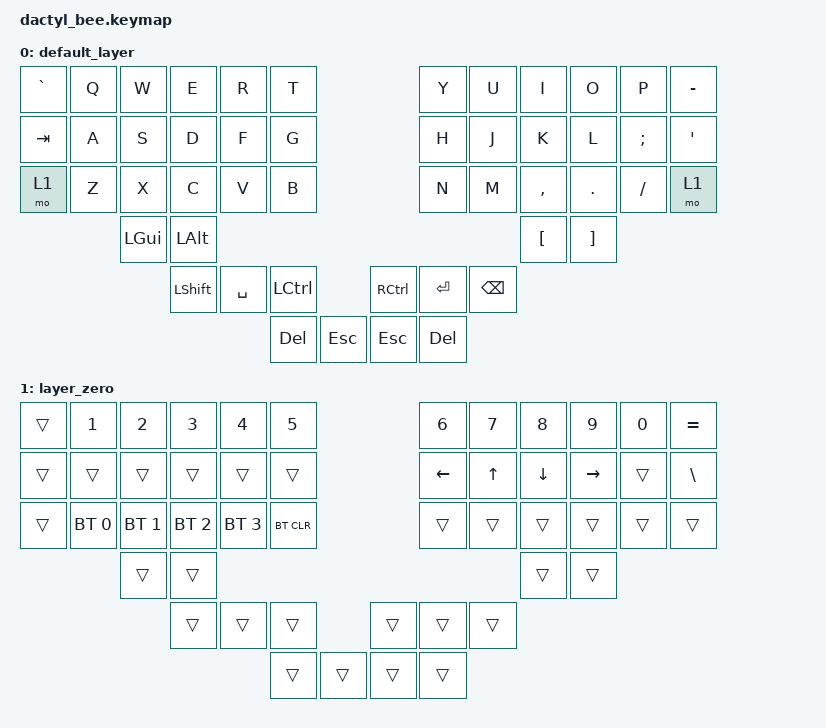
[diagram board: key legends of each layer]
#include <behaviors.dtsi>
#include <dt-bindings/zmk/keys.h>
#include <dt-bindings/zmk/bt.h>
#include <dt-bindings/zmk/ext_power.h>

/ {
        keymap {
            compatible = "zmk,keymap";

            default_layer {
// | ~|` |  Q  |  W  |  E  |  R  |  T  |                                |  Y  |  U  |  I  |  O  |  P  | -|_ |
// | TAB |  A  |  S  |  D  |  F  |  G  |                                |  H  |  J  |  K  |  L  | ;|: | '|" |
// | mFN |  Z  |  X  |  C  |  V  |  B  |                                |  N  |  M  | <|, | >|. | /|? | mFN |
//             | GUI | ALT |                                                        | [|{ | ]|} |    
//                         | mFN | SPC | CTL |                    | CTL | ENT | BSP |
//                               | DEL | ESC |                    | ESC | DEL | 
            bindings = <
  &kp GRAVE &kp Q &kp W &kp E &kp R &kp T                                   &kp Y &kp U &kp I &kp O &kp  P   &kp MINUS
  &kp TAB   &kp A &kp S &kp D &kp F &kp G                                   &kp H &kp J &kp K &kp L &kp SEMI &kp SQT
  &mo 1  &kp Z &kp X &kp C &kp V &kp B                                      &kp N &kp M &kp COMMA &kp DOT &kp FSLH &mo 1
                  &kp LGUI &kp LALT                                                     &kp LBKT &kp RBKT 
                          &kp LSHIFT &kp SPACE &kp LCTRL        &kp RCTL &kp RET &kp BSPC
                                     &kp DEL     &kp ESC        &kp ESC  &kp DEL  
            >;
            };

            layer_zero {

// | ___ |  1  |  2  |  3  |  4  |  5  |                                     |  6  |  7  |  8  |  9  |  0  | +|= |
// | ___ | ___ | ___ | ___ | ___ | ___ |                                     | < - |  ^  |  v  | - > | ___ | \|| |
// | ___ | BT0 | BT1 | BT2 | BT3 | BTC |                                     | ___ | ___ | ___ | ___ | ___ | ___ |
//             | ___ | ___ |                                                             | [|{ | ]|} |    
//                         | ___ | ___ | ___ |                         | ___ | ___ | ___ |
//                               | ___ | ___ |                         | ___ | ___ | 
            bindings = <
    &trans &kp N1 &kp N2 &kp N3 &kp N4 &kp N5                             &kp N6 &kp N7 &kp N8 &kp N9 &kp N0 &kp EQUAL
    &trans &trans &trans &trans &trans &trans                             &kp LEFT &kp UP &kp DOWN &kp RIGHT &trans &kp BSLH
    &trans &bt BT_SEL 0 &bt BT_SEL 1 &bt BT_SEL 2 &bt BT_SEL 3 &bt BT_CLR &trans &trans &trans &trans &trans &trans
                  &trans &trans                                                        &trans &trans 
                            &trans &trans &trans                       &trans &trans &trans
                                   &trans &trans                       &trans &trans             
            >;
            };
        };
};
